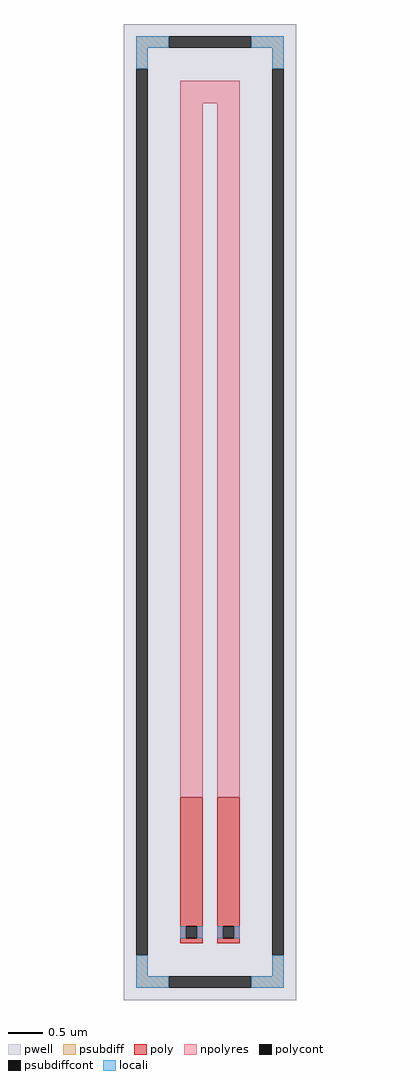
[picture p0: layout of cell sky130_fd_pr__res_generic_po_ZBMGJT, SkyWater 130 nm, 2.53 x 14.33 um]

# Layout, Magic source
magic
tech sky130A
magscale 1 2
<< pwell >>
rect -253 -1433 253 1433
<< psubdiff >>
rect -217 1363 -121 1397
rect 121 1363 217 1397
rect -217 1301 -183 1363
rect 183 1301 217 1363
rect -217 -1363 -183 -1301
rect 183 -1363 217 -1301
rect -217 -1397 -121 -1363
rect 121 -1397 217 -1363
<< psubdiffcont >>
rect -121 1363 121 1397
rect -217 -1301 -183 1301
rect 183 -1301 217 1301
rect -121 -1397 121 -1363
<< poly >>
rect -87 -1217 -21 -837
rect -87 -1251 -71 -1217
rect -37 -1251 -21 -1217
rect -87 -1267 -21 -1251
rect 21 -1217 87 -837
rect 21 -1251 37 -1217
rect 71 -1251 87 -1217
rect 21 -1267 87 -1251
<< polycont >>
rect -71 -1251 -37 -1217
rect 37 -1251 71 -1217
<< npolyres >>
rect -87 1201 87 1267
rect -87 -837 -21 1201
rect 21 -837 87 1201
<< locali >>
rect -217 1363 -121 1397
rect 121 1363 217 1397
rect -217 1301 -183 1363
rect 183 1301 217 1363
rect -87 -1251 -71 -1217
rect -37 -1251 -21 -1217
rect 21 -1251 37 -1217
rect 71 -1251 87 -1217
rect -217 -1363 -183 -1301
rect 183 -1363 217 -1301
rect -217 -1397 -121 -1363
rect 121 -1397 217 -1363
<< properties >>
string FIXED_BBOX -200 -1380 200 1380
string gencell sky130_fd_pr__res_generic_po
string library sky130
string parameters w 0.33 l 10 m 1 nx 2 wmin 0.330 lmin 1.650 rho 48.2 val 3.027k dummy 0 dw 0.0 term 0.0 sterm 0.0 caplen 0.4 snake 1 guard 1 glc 1 grc 1 gtc 1 gbc 1 roverlap 0 endcov 100 full_metal 1 hv_guard 0 n_guard 0 vias 1 viagb 0 viagt 0 viagl 0 viagr 0
<< end >>
